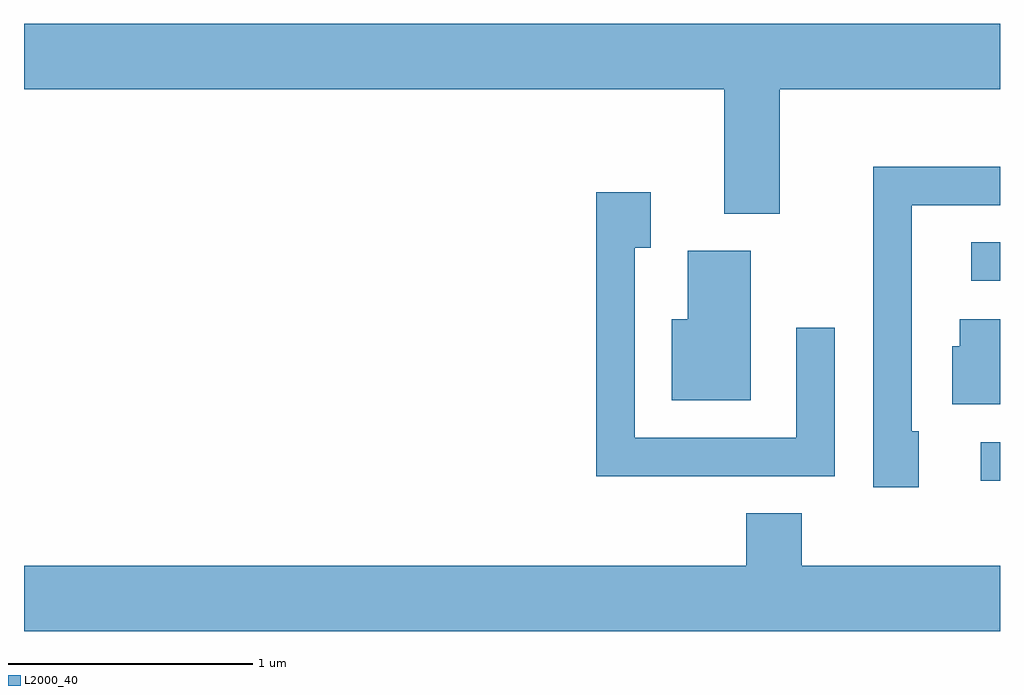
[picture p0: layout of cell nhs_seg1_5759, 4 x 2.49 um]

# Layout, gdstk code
import gdstk
lib = gdstk.Library(unit=1e-6, precision=1e-09)
def R(c, l, rs):  # rectangles x0, y0, x1, y1
    for r in rs: c.add(gdstk.rectangle(r[:2], r[2:], *l))
def P(c, l, *ps):  # polygons
    for p in ps: c.add(gdstk.Polygon(p, *l))
L2000_40 = (2000, 40)

nhs_seg1_5759 = lib.new_cell('nhs_seg1_5759')
R(nhs_seg1_5759, L2000_40, [(361.533,975.671,361.611,975.829), (361.493,976.491,361.611,976.649)])
P(nhs_seg1_5759, L2000_40, [(360.709,977.276),(361.611,977.276),(361.611,977.544),(357.611,977.544),(357.611,977.276),(360.481,977.276),(360.481,976.766),(360.709,976.766)],
  [(361.279,975.874),(361.249,975.874),(361.249,976.801),(361.611,976.801),(361.611,976.959),(361.091,976.959),(361.091,975.646),(361.279,975.646)],
  [(360.934,976.298),(360.776,976.298),(360.776,975.849),(360.114,975.849),(360.114,976.626),(360.179,976.626),(360.179,976.854),(359.956,976.854),(359.956,975.691),(360.934,975.691)],
  [(360.589,976.614),(360.331,976.614),(360.331,976.334),(360.266,976.334),(360.266,976.001),(360.589,976.001)],
  [(361.611,976.334),(361.446,976.334),(361.446,976.224),(361.416,976.224),(361.416,975.986),(361.611,975.986)],
  [(361.611,975.324),(360.799,975.324),(360.799,975.539),(360.571,975.539),(360.571,975.324),(357.611,975.324),(357.611,975.056),(361.611,975.056)])

lib.write_gds('nhs_seg1_5759.gds')
